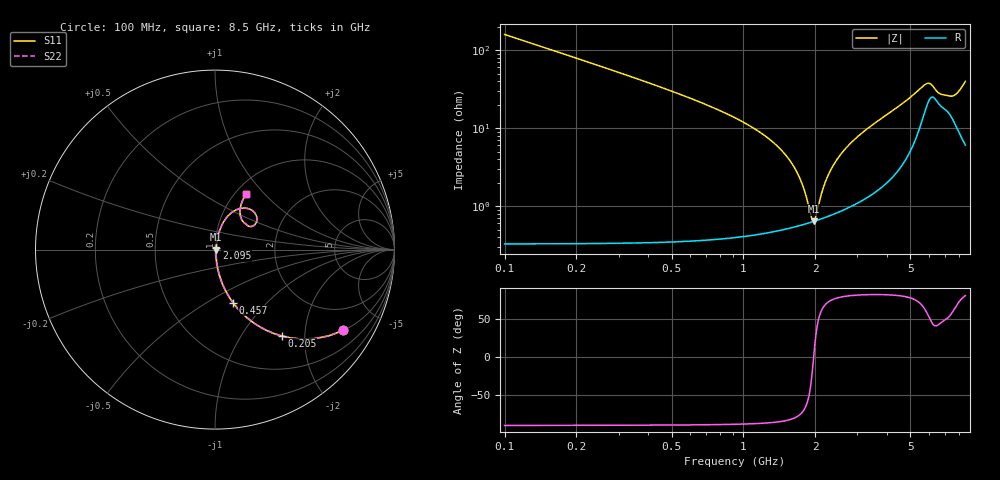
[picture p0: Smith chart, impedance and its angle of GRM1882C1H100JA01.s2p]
!Murata Part Number: GRM1882C1H100JA01
!These Parameters are Measured in Series Mode Connection
!Data Generated on Mar 30, 2021
!  o--ll--o
!Port1  Port2
!  o------o
!Operation Temp=25[degC], DC Bias Voltage=0[V]
!Freq. Start=100[MHz] Stop=9[GHz] 401[Steps]
# Hz S RI R 50
!Freq.(Hz) S11(Real) S11(Imag) S21(Real) S21(Imag) S12(Real) S12(Imag) S22(Real) S22(Imag)
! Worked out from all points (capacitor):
!   401 points, 100 MHz to 8.5 GHz, reference 50 ohm
!   read as one part in series: C = 10 pF near 142 MHz
!   lowest |Z| = 637 mohm at 1.969 GHz (marker M1)
!   series resonance near 1.968 GHz, so ESL is about 650 pH
!   S11 on the Smith chart (normalised r, x): 100 MHz: 1.01, -3.18; 205 MHz: 1.01, -1.54; 457 MHz: 1.01, -0.66; 2.095 GHz: 1.01, +0.02; 8.5 GHz: 1.12, +0.79
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1e8  0.7155 -0.4501  0.2845 0.4501  0.2845 0.4501  0.7155 -0.4501
2.05e8  0.3717 -0.4811  0.6283 0.4811  0.6283 0.4811  0.3717 -0.4811
3.1e8  0.2023 -0.3984  0.7977 0.3984  0.7977 0.3984  0.2023 -0.3984
4.57e8  0.1007 -0.2958  0.8993 0.2958  0.8993 0.2958  0.1007 -0.2958
8.56e8  0.0261 -0.1471  0.9739 0.1471  0.9739 0.1471  0.0261 -0.1471
1.507e9  0.007 -0.0439  0.993 0.0439  0.993 0.0439  0.007 -0.0439
1.717e9  0.0061 -0.0224  0.9939 0.0224  0.9939 0.0224  0.0061 -0.0224
1.927e9  0.00621 -0.00345  0.9938 0.00345  0.9938 0.00345  0.00621 -0.00345
1.969e9  0.00633 0.000106  0.9937 -0.000106  0.9937 -0.000106  0.00633 0.000106
2.011e9  0.00648 0.00359  0.9935 -0.00359  0.9935 -0.00359  0.00648 0.00359
2.095e9  0.00685 0.0104  0.9931 -0.0104  0.9931 -0.0104  0.00685 0.0104
2.221e9  0.0076 0.0202  0.9924 -0.0202  0.9924 -0.0202  0.0076 0.0202
2.389e9  0.0089 0.0327  0.9911 -0.0327  0.9911 -0.0327  0.0089 0.0327
2.914e9  0.0151 0.0688  0.9849 -0.0688  0.9849 -0.0688  0.0151 0.0688
3.481e9  0.0256 0.1058  0.9744 -0.1058  0.9744 -0.1058  0.0256 0.1058
4.3e9  0.0517 0.1604  0.9483 -0.1604  0.9483 -0.1604  0.0517 0.1604
5.707e9  0.1941 0.225  0.8059 -0.225  0.8059 -0.225  0.1941 0.225
6.001e9  0.2317 0.1847  0.7683 -0.1847  0.7683 -0.1847  0.2317 0.1847
6.358e9  0.213 0.1323  0.787 -0.1323  0.787 -0.1323  0.213 0.1323
7.114e9  0.1675 0.1455  0.8325 -0.1455  0.8325 -0.1455  0.1675 0.1455
7.702e9  0.1417 0.1878  0.8583 -0.1878  0.8583 -0.1878  0.1417 0.1878
8.5e9  0.1714 0.3076  0.8286 -0.3076  0.8286 -0.3076  0.1714 0.3076
